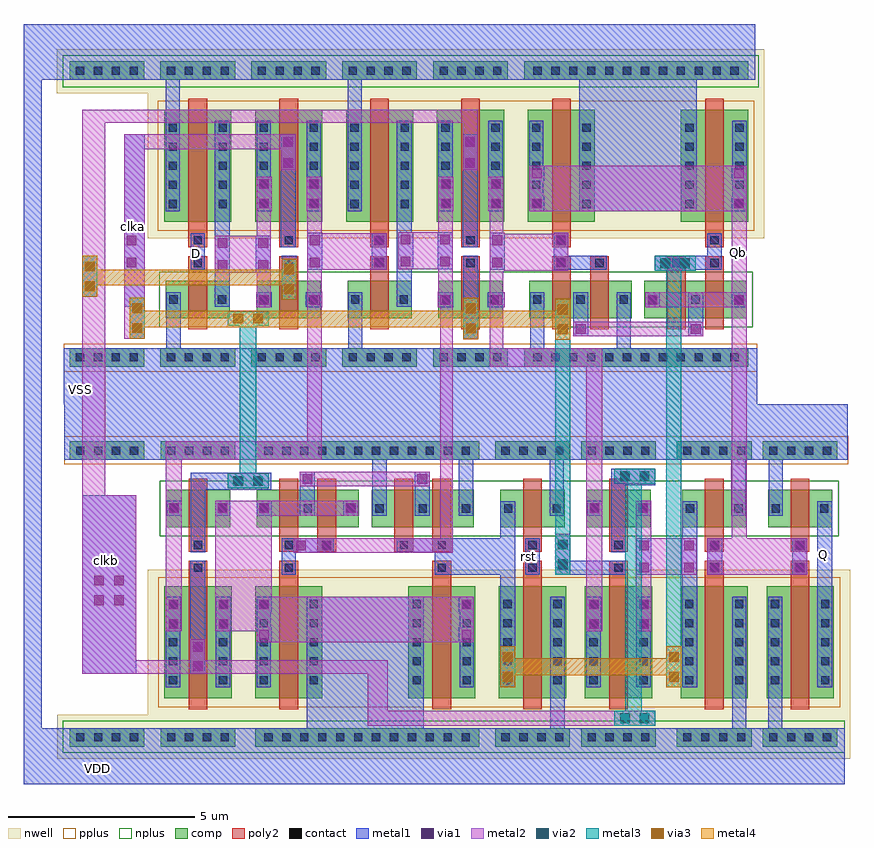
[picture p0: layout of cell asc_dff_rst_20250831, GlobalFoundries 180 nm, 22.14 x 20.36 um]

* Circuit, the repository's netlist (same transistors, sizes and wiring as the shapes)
** sch_path: /foss/designs/libs/core_analog/asc_dff_rst_20250831/asc_dff_rst_20250831.sch
.subckt asc_dff_rst_20250831 clka D Qb vdd vss Q rst clkb
*.PININFO clkb:B vdd:B vss:B D:B Q:B Qb:B rst:B clka:B
x1 net3 vdd net2 vss inv1u05u
x3 net1 vss clkb net3 clka vdd pass1u05u
x5 net3 vss clka net6 clkb vdd pass1u05u
x6 net2 vss clka net5 clkb vdd pass1u05u
x8 Qb vdd net4 vss inv1u05u
x9 net5 vss clkb net4 clka vdd pass1u05u
x11 D vdd net1 vss inv1u05u
x12 Qb vdd Q vss inv1u05u
x13 rst vdd rstb vss inv1u05u
x4 vdd net6 net2 rstb vss asc_NAND
x7 vdd Qb rstb net5 vss asc_NAND
.ends

* expanding   symbol:  libs/core_analog/inv1u05u/inv1u05u.sym # of pins=4
** sym_path: /foss/designs/libs/core_analog/inv1u05u/inv1u05u.sym
** sch_path: /foss/designs/libs/core_analog/inv1u05u/inv1u05u.sch
.subckt inv1u05u in vdd out vss
*.PININFO in:B out:B vss:B vdd:B
M1 out in vdd vdd pfet_03v3 L=0.5u W=3.0u nf=1 m=1
M2 out in vss vss nfet_03v3 L=0.5u W=1.0u nf=1 m=1
.ends


* expanding   symbol:  libs/core_analog/pass1u05u/pass1u05u.sym # of pins=6
** sym_path: /foss/designs/libs/core_analog/pass1u05u/pass1u05u.sym
** sch_path: /foss/designs/libs/core_analog/pass1u05u/pass1u05u.sch
.subckt pass1u05u ind vss clkn ins clkp vdd
*.PININFO ind:B ins:B clkn:B clkp:B vdd:B vss:B
M1 ind clkp ins vdd pfet_03v3 L=0.5u W=3.0u nf=1 m=1
M2 ind clkn ins vss nfet_03v3 L=0.5u W=1.0u nf=1 m=1
.ends


* expanding   symbol:  libs/core_analog/asc_NAND/asc_NAND.sym # of pins=5
** sym_path: /foss/designs/libs/core_analog/asc_NAND/asc_NAND.sym
** sch_path: /foss/designs/libs/core_analog/asc_NAND/asc_NAND.sch
.subckt asc_NAND VDD OUT A B VSS
*.PININFO VDD:B VSS:B B:B A:B OUT:B
M1 OUT A net1 VSS nfet_03v3 L=0.5u W=2u nf=2 m=1
M2 OUT A VDD VDD pfet_03v3 L=0.5u W=3u nf=1 m=1
M3 net1 B VSS VSS nfet_03v3 L=0.5u W=2u nf=2 m=1
M4 OUT B VDD VDD pfet_03v3 L=0.5u W=3u nf=1 m=1
.ends

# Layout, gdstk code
from math import pi, radians
import gdstk
lib = gdstk.Library(unit=1e-6, precision=5e-09)
def R(c, l, rs):  # rectangles x0, y0, x1, y1
    for r in rs: c.add(gdstk.rectangle(r[:2], r[2:], *l))
def A(c, l, x, y, w, h, nx, ny, dx, dy):  # array of equal rectangles
    R(c, l, [(x+i*dx, y+j*dy, x+i*dx+w, y+j*dy+h) for i in range(nx) for j in range(ny)])
nwell = (21, 0)
comp = (22, 0)
poly2 = (30, 0)
pplus = (31, 0)
nplus = (32, 0)
contact = (33, 0)
metal1 = (34, 0)
via1 = (35, 0)
metal2 = (36, 0)
via2 = (38, 0)
via3 = (40, 0)
metal3 = (42, 0)
metal4 = (46, 0)

pfet = lib.new_cell('pfet')
R(pfet, nwell, [(-0.9,-0.44,1.78,3.44)])
R(pfet, comp, [(-0.46,0,0,3), (0,0,0.88,3), (0.88,0,1.34,3)])
R(pfet, poly2, [(0.19,-0.68,0.69,-0.3), (0.19,-0.3,0.69,3.3)])
R(pfet, pplus, [(-0.63,-0.24,1.51,3.24)])
A(pfet, contact, -0.34, 0.37, 0.22, 0.22, 1, 5, 0, 0.51)
A(pfet, contact, 1, 0.37, 0.22, 0.22, 1, 5, 0, 0.51)
R(pfet, contact, [(0.33,-0.6,0.55,-0.38)])
R(pfet, metal1, [(0.25,-0.68,0.63,-0.3), (-0.42,0.29,-0.04,2.71), (0.92,0.29,1.3,2.71)])

via_dev = lib.new_cell('via_dev')
R(via_dev, comp, [(0,0,2,0.5)])
A(via_dev, contact, 0.17, 0.14, 0.22, 0.22, 4, 1, 0.48, 0)
R(via_dev, metal1, [(0,0,2,0.5)])

nfet = lib.new_cell('nfet')
R(nfet, comp, [(-0.42,0,0,1), (0,0,0.88,1), (0.88,0,1.3,1)])
R(nfet, poly2, [(0.19,-0.3,0.69,1.3), (0.19,1.3,0.69,1.66)])
R(nfet, nplus, [(-0.59,-0.24,1.47,1.24)])
R(nfet, contact, [(-0.32,0.39,-0.1,0.61), (0.98,0.39,1.2,0.61), (0.33,1.37,0.55,1.59)])
R(nfet, metal1, [(-0.4,0.31,-0.02,0.69), (0.9,0.31,1.28,0.69), (0.25,1.29,0.63,1.67)])

via_dev_1 = lib.new_cell('via_dev$1')
R(via_dev_1, metal1, [(0,0,0.4,0.4)])
R(via_dev_1, via1, [(0.07,0.07,0.33,0.33)])
R(via_dev_1, metal2, [(0,0,0.4,0.4)])

via_dev_2 = lib.new_cell('via_dev$2')
R(via_dev_2, comp, [(0,0,6,0.5)])
A(via_dev_2, contact, 0.25, 0.14, 0.22, 0.22, 12, 1, 0.48, 0)
R(via_dev_2, metal1, [(0,0,6,0.5)])

nfet_1 = lib.new_cell('nfet$1')
R(nfet_1, comp, [(-0.42,0,0,1), (0,0,1.9,1), (1.9,0,2.32,1)])
R(nfet_1, poly2, [(0.19,-0.3,0.69,1.3), (1.21,-0.3,1.71,1.3), (0.19,1.3,0.69,1.66), (1.21,1.3,1.71,1.66)])
R(nfet_1, nplus, [(-0.59,-0.24,2.49,1.24)])
A(nfet_1, contact, -0.32, 0.39, 0.22, 0.22, 3, 1, 1.16, 0)
R(nfet_1, contact, [(0.33,1.37,0.55,1.59), (1.35,1.37,1.57,1.59)])
A(nfet_1, metal1, -0.4, 0.31, 0.38, 0.38, 3, 1, 1.16, 0)
R(nfet_1, metal1, [(0.25,1.29,0.63,1.67), (1.27,1.29,1.65,1.67)])

pfet_1 = lib.new_cell('pfet$1')
R(pfet_1, nwell, [(-0.9,-0.44,1.78,3.44)])
R(pfet_1, comp, [(-0.46,0,0,3), (0,0,0.88,3), (0.88,0,1.34,3)])
R(pfet_1, poly2, [(0.19,-0.68,0.69,-0.3), (0.19,-0.3,0.69,3.3)])
R(pfet_1, pplus, [(-0.63,-0.24,1.51,3.24)])
A(pfet_1, contact, -0.34, 0.37, 0.22, 0.22, 1, 5, 0, 0.51)
A(pfet_1, contact, 1, 0.37, 0.22, 0.22, 1, 5, 0, 0.51)
R(pfet_1, contact, [(0.33,-0.6,0.55,-0.38)])
R(pfet_1, metal1, [(0.25,-0.68,0.63,-0.3), (-0.42,0.29,-0.04,2.71), (0.92,0.29,1.3,2.71)])

via_dev_3 = lib.new_cell('via_dev$3')
R(via_dev_3, metal1, [(0,0,0.4,0.4)])
R(via_dev_3, via1, [(0.07,0.07,0.33,0.33)])
R(via_dev_3, metal2, [(0,0,0.4,0.4)])

via_dev_4 = lib.new_cell('via_dev$4')
R(via_dev_4, metal1, [(0,0,0.4,0.4)])
R(via_dev_4, via1, [(0.07,0.07,0.33,0.33)])
R(via_dev_4, metal2, [(0,0,0.4,0.4)])

via_dev_5 = lib.new_cell('via_dev$5')

via_dev_6 = lib.new_cell('via_dev$6')
R(via_dev_6, metal1, [(0,0,1.1,0.4)])
R(via_dev_6, via1, [(0.155,0.07,0.415,0.33), (0.685,0.07,0.945,0.33)])
R(via_dev_6, metal2, [(0,0,1.1,0.4)])
R(via_dev_6, via2, [(0.155,0.07,0.415,0.33), (0.685,0.07,0.945,0.33)])
R(via_dev_6, metal3, [(0,0,1.1,0.4)])

via_dev_7 = lib.new_cell('via_dev$7')
R(via_dev_7, metal1, [(0,0,1.1,0.4)])
R(via_dev_7, via1, [(0.155,0.07,0.415,0.33), (0.685,0.07,0.945,0.33)])
R(via_dev_7, metal2, [(0,0,1.1,0.4)])
R(via_dev_7, via2, [(0.155,0.07,0.415,0.33), (0.685,0.07,0.945,0.33)])
R(via_dev_7, via3, [(0.155,0.07,0.415,0.33), (0.685,0.07,0.945,0.33)])
R(via_dev_7, metal3, [(0,0,1.1,0.4)])
R(via_dev_7, metal4, [(0,0,1.1,0.4)])

via_dev_8 = lib.new_cell('via_dev$8')
R(via_dev_8, via3, [(0.155,0.07,0.415,0.33), (0.685,0.07,0.945,0.33)])
R(via_dev_8, metal3, [(0,0,1.1,0.4)])
R(via_dev_8, metal4, [(0,0,1.1,0.4)])

via_dev_9 = lib.new_cell('via_dev$9')
R(via_dev_9, comp, [(0,0,2,0.5)])
A(via_dev_9, contact, 0.17, 0.14, 0.22, 0.22, 4, 1, 0.48, 0)
R(via_dev_9, metal1, [(0,0,2,0.5)])

nfet_2 = lib.new_cell('nfet$2')
R(nfet_2, comp, [(-0.42,0,0,1), (0,0,0.88,1), (0.88,0,1.3,1)])
R(nfet_2, poly2, [(0.19,-0.3,0.69,1.3), (0.19,1.3,0.69,1.66)])
R(nfet_2, nplus, [(-0.59,-0.24,1.47,1.24)])
R(nfet_2, contact, [(-0.32,0.39,-0.1,0.61), (0.98,0.39,1.2,0.61), (0.33,1.37,0.55,1.59)])
R(nfet_2, metal1, [(-0.4,0.31,-0.02,0.69), (0.9,0.31,1.28,0.69), (0.25,1.29,0.63,1.67)])

via_dev_10 = lib.new_cell('via_dev$10')

via_dev_11 = lib.new_cell('via_dev$11')

pfet_2 = lib.new_cell('pfet$2')
R(pfet_2, nwell, [(-0.9,-0.44,1.78,3.44)])
R(pfet_2, comp, [(-0.46,0,0,3), (0,0,0.88,3), (0.88,0,1.34,3)])
R(pfet_2, poly2, [(0.19,-0.68,0.69,-0.3), (0.19,-0.3,0.69,3.3)])
R(pfet_2, pplus, [(-0.63,-0.24,1.51,3.24)])
A(pfet_2, contact, -0.34, 0.37, 0.22, 0.22, 1, 5, 0, 0.51)
A(pfet_2, contact, 1, 0.37, 0.22, 0.22, 1, 5, 0, 0.51)
R(pfet_2, contact, [(0.33,-0.6,0.55,-0.38)])
R(pfet_2, metal1, [(0.25,-0.68,0.63,-0.3), (-0.42,0.29,-0.04,2.71), (0.92,0.29,1.3,2.71)])

via_dev_12 = lib.new_cell('via_dev$12')
R(via_dev_12, metal2, [(0,0,1.1,0.4)])
R(via_dev_12, via2, [(0.155,0.07,0.415,0.33), (0.685,0.07,0.945,0.33)])
R(via_dev_12, via3, [(0.155,0.07,0.415,0.33), (0.685,0.07,0.945,0.33)])
R(via_dev_12, metal3, [(0,0,1.1,0.4)])
R(via_dev_12, metal4, [(0,0,1.1,0.4)])

via_dev_14 = lib.new_cell('via_dev$14')
R(via_dev_14, metal1, [(0,0,1.1,1.1)])
R(via_dev_14, via1, [(0.155,0.155,0.415,0.415), (0.685,0.155,0.945,0.415), (0.155,0.685,0.415,0.945), (0.685,0.685,0.945,0.945)])
R(via_dev_14, metal2, [(0,0,1.1,1.1)])

via_dev_13 = lib.new_cell('via_dev$13')
R(via_dev_13, metal2, [(0,0,1.1,0.4)])
R(via_dev_13, via2, [(0.155,0.07,0.415,0.33), (0.685,0.07,0.945,0.33)])
R(via_dev_13, metal3, [(0,0,1.1,0.4)])

asc_dff_rst_20250831 = lib.new_cell('asc_dff_rst_20250831')
A(asc_dff_rst_20250831, nwell, -3.11, 12.295, 2.68, 1.185, 5, 1, 2.435, 0)
R(asc_dff_rst_20250831, nwell, [(-3.105,-5.53,-0.425,-4.345), (-0.67,-5.53,2.01,-4.345), (1.76,-5.53,8.54,-4.345), (8.29,-5.53,10.97,-4.345), (10.595,-5.53,13.275,-4.345), (13.16,-5.53,15.84,-4.345), (15.46,-5.53,18.14,-4.345), (4.44,-4.345,5.86,-0.465), (11.745,8.415,13.165,12.295), (9.065,12.295,15.845,13.48)])
A(asc_dff_rst_20250831, pplus, -2.92, 4.835, 2.435, 0.75, 5, 1, 2.435, 0)
A(asc_dff_rst_20250831, pplus, 1.735, 8.615, 0.295, 3.48, 4, 1, 2.435, 0)
R(asc_dff_rst_20250831, pplus, [(1.74,-4.145,2.03,-0.665), (4.17,-4.145,6.13,-0.665), (8.27,-4.145,8.43,-0.665), (8.43,-4.145,8.56,-0.665), (10.57,-4.145,10.865,-0.665), (13.005,-4.145,13.3,-0.665), (13.3,-4.145,13.44,-0.665), (15.57,-4.145,15.73,-0.665), (-2.915,2.365,-0.48,3.115), (-0.48,2.365,1.955,3.115), (8.345,2.365,10.78,3.115), (10.78,2.365,10.785,3.115), (10.785,2.365,13.22,3.115), (13.215,2.365,15.65,3.115), (15.65,2.365,18.085,3.115), (11.475,8.615,13.435,12.095)])
A(asc_dff_rst_20250831, nplus, 1.695, 6.035, 0.375, 1.48, 4, 1, 2.435, 0)
A(asc_dff_rst_20250831, nplus, -2.955, 12.455, 2.385, 0.865, 5, 1, 2.435, 0)
A(asc_dff_rst_20250831, nplus, -0.57, 12.455, 0.05, 0.865, 5, 1, 2.435, 0)
R(asc_dff_rst_20250831, nplus, [(-2.95,-5.37,-0.565,-4.505), (-0.565,-5.37,-0.515,-4.505), (-0.515,-5.37,1.87,-4.505), (1.87,-5.37,1.915,-4.505), (1.915,-5.37,8.385,-4.505), (8.385,-5.37,8.435,-4.505), (8.43,-5.37,10.815,-4.505), (10.7,-5.37,10.75,-4.505), (10.75,-5.37,13.135,-4.505), (13.135,-5.37,13.185,-4.505), (13.185,-5.37,13.305,-4.505), (13.3,-5.37,15.685,-4.505), (15.615,-5.37,18,-4.505), (1.7,0.435,2.07,1.915), (8.23,0.435,8.47,1.915), (8.47,0.435,8.605,1.915), (10.53,0.435,10.905,1.915), (12.965,0.435,13.34,1.915), (13.34,0.435,13.47,1.915), (15.53,0.435,15.77,1.915), (9.22,12.455,15.69,13.32)])
A(asc_dff_rst_20250831, metal1, 8.35, 2.475, 2.43, 1.5, 3, 1, 2.435, 0)
A(asc_dff_rst_20250831, metal1, -2.92, 3.975, 2.43, 1.5, 5, 1, 2.435, 0)
A(asc_dff_rst_20250831, metal1, -0.49, 3.975, 0.005, 1.5, 5, 1, 2.435, 0)
A(asc_dff_rst_20250831, metal1, -2.92, 4.975, 0.15, 0.5, 6, 2, 2.435, 7.68)
A(asc_dff_rst_20250831, metal1, -0.175, 4.975, 0.38, 1.99, 3, 1, 4.87, 0)
A(asc_dff_rst_20250831, metal1, 0.475, 7.565, 0.38, 0.99, 3, 1, 4.87, 0)
A(asc_dff_rst_20250831, metal1, -2.92, 12.655, 2.35, 1.5, 5, 1, 2.435, 0)
A(asc_dff_rst_20250831, metal1, -0.57, 12.655, 0.085, 1.5, 5, 1, 2.435, 0)
R(asc_dff_rst_20250831, metal1, [(-3.995,-6.205,-2.915,-4.705), (-2.915,-6.205,-0.565,-4.705), (-0.565,-6.205,-0.48,-4.705), (-0.48,-6.205,1.87,-4.705), (1.87,-6.205,2.01,-4.705), (2.01,-6.205,8.35,-4.705), (8.35,-6.205,8.43,-4.705), (8.43,-6.205,10.78,-4.705), (10.7,-6.205,10.785,-4.705), (10.785,-6.205,13.135,-4.705), (13.135,-6.205,13.22,-4.705), (13.22,-6.205,13.3,-4.705), (13.3,-6.205,15.65,-4.705), (15.65,-6.205,18,-4.705), (-2.915,-5.205,-2.765,-4.705), (-0.48,-5.205,-0.33,-4.705), (2.01,-5.205,2.2,-4.705), (8.2,-5.205,8.35,-4.705), (10.11,-5.205,10.49,-1.195), (10.63,-5.205,10.78,-4.705), (10.785,-5.205,10.935,-4.705), (14.98,-5.205,15.36,-1.195), (15.5,-5.205,15.65,-4.705), (15.65,-5.205,15.8,-4.705), (15.94,-5.205,16.32,-1.195), (-3.995,-4.705,-3.515,12.655), (3.58,-4.705,6.72,-1.195), (8.77,-3.615,9.17,1.365), (13.64,-3.615,14.04,1.365), (17.26,-3.615,17.66,1.365), (-2.43,-3.25,-0.985,1.525), (0.465,-3.25,0.865,-0.225), (0.185,-1.715,0.21,-1.595), (1.53,-1.715,1.55,-1.595), (11.45,-1.715,11.475,-1.595), (12.795,-1.715,12.815,-1.595), (2.91,-0.605,3.29,0.385), (7.01,-0.605,7.39,0.385), (7.01,-0.605,9.17,0.385), (9.44,-0.605,9.82,0.385), (10.24,-0.605,12.125,-0.225), (14.31,-0.605,14.69,0.385), (16.61,-0.605,16.99,0.385), (12.415,-0.205,12.815,-0.015), (13.625,-0.205,13.64,-0.015), (14.69,-0.205,14.71,-0.015), (16.59,-0.205,16.61,-0.015), (2.91,0.005,4.31,0.385), (5.99,0.005,7.39,0.385), (11.745,0.005,12.125,2.24), (0.48,0.385,0.86,2.135), (3.4,0.985,3.8,2.165), (5.34,0.985,5.72,2.975), (6.48,0.985,6.88,2.165), (7.66,0.985,8.04,2.975), (10.09,0.985,10.47,2.975), (14.96,0.985,15.34,2.975), (15.96,0.985,16.34,2.975), (0.48,1.675,2.63,2.135), (11.745,1.805,12.92,2.24), (-2.915,2.475,-0.485,3.975), (-2.915,2.475,-2.765,2.975), (-0.485,2.475,-0.48,3.975), (-0.48,2.475,1.95,3.975), (-0.48,2.475,-0.33,2.975), (1.95,2.475,1.965,3.975), (1.955,2.475,8.35,3.975), (1.955,2.475,2.2,2.975), (8.2,2.475,8.35,2.975), (10.63,2.475,10.78,2.975), (10.78,2.475,10.785,3.975), (10.785,2.475,10.935,2.975), (13.215,2.475,13.22,3.975), (15.5,2.475,15.65,2.975), (15.65,2.475,18.08,3.975), (15.65,2.475,15.8,2.975), (9.255,3.975,15.65,5.475), (11.885,4.975,12.265,6.965), (15.405,4.975,15.65,5.475), (10.725,5.785,11.125,6.965), (13.805,5.785,14.205,6.965), (2.625,6.565,2.64,6.585), (7.49,6.565,7.51,6.585), (8.43,6.565,8.485,6.585), (-1.31,6.585,-0.76,11.2), (1.125,6.585,1.525,11.565), (5.995,6.585,6.395,11.565), (7.78,6.815,8.18,7.565), (10.215,7.565,11.615,7.945), (13.295,7.565,14.695,7.945), (14.315,7.565,14.695,8.555), (3.29,7.87,3.31,7.945), (2.22,7.89,2.62,8.085), (3.6,7.965,4,8.16), (5.325,7.965,5.345,8.155), (8.485,7.965,8.885,8.16), (10.195,7.965,10.215,8.16), (6.395,7.99,6.43,8.18), (7.09,7.99,7.49,8.18), (2.89,8.175,3.29,11.005), (7.76,8.175,8.16,11.005), (-0.195,9.145,0.185,13.155), (4.675,9.145,5.055,13.155), (10.885,9.145,14.025,12.655), (2.615,9.545,2.64,9.665), (3.96,9.545,3.98,9.665), (7.485,9.545,7.51,9.665), (8.83,9.545,8.85,9.665), (-3.995,12.655,-2.92,14.155), (9.255,12.655,15.595,14.155), (15.405,12.655,15.595,13.155)])
R(asc_dff_rst_20250831, metal2, [(5.22,-4.65,12.92,-4.245), (5.22,-4.65,5.755,-2.885), (-2.43,-3.25,-1.81,11.855), (-2.43,-3.25,0.865,-2.885), (0.465,-3.25,0.865,-2.33), (0.465,-3.25,5.755,-2.885), (-1.81,-2.885,-0.985,1.525), (2.24,-2.405,2.64,1.385), (2.24,-2.405,8.06,-1.195), (7.66,-2.405,8.06,-1.195), (-0.19,-2.115,0.23,1.385), (1.13,-2.115,1.55,1.385), (1.13,-2.115,2.64,1.385), (11.075,-2.115,11.495,1.385), (12.395,-2.115,12.815,1.385), (1.53,-1.715,1.55,-1.595), (12.795,-1.715,12.815,-1.595), (12.395,-0.605,14.025,0.385), (14.31,-0.605,16.99,0.385), (14.965,-0.605,15.365,7.06), (3.23,-0.015,7.49,0.385), (7.16,-0.015,7.49,6.755), (2.24,0.985,4.96,1.385), (-0.19,1.17,0.23,2.975), (11.075,1.385,11.495,5.475), (3.4,1.765,6.88,2.165), (-0.185,2.475,3.98,2.975), (3.6,2.475,3.98,6.675), (8.48,4.975,11.495,5.475), (8.48,4.975,8.85,6.8), (-1.31,5.725,-0.76,11.2), (10.725,5.785,14.205,6.185), (2.24,6.565,2.625,10.065), (3.6,6.565,3.98,10.065), (7.11,6.565,7.49,10.065), (8.485,6.565,8.85,10.065), (12.645,6.565,15.365,6.965), (14.965,6.565,15.365,10.355), (1.125,7.495,2.62,8.485), (8.485,7.545,10.595,8.54), (3.98,7.565,5.725,8.555), (6.03,7.59,7.49,8.58), (9.545,9.145,9.945,10.355), (9.545,9.145,15.365,10.355), (2.625,9.545,2.64,9.665), (3.58,9.545,3.6,9.665), (3.96,9.545,3.98,9.665), (7.49,9.545,7.51,9.665), (8.45,9.545,8.49,9.665), (8.83,9.545,8.85,9.665), (2.89,10.235,3.29,11.2), (7.76,10.235,8.16,11.855), (-1.31,10.8,3.29,11.2), (-2.425,11.505,8.155,11.855)])
R(asc_dff_rst_20250831, metal3, [(12.115,-4.645,12.56,2.24), (13.22,-3.615,13.62,7.945), (10.24,0.495,10.64,6.47), (1.785,1.715,2.235,6.465)])
R(asc_dff_rst_20250831, metal4, [(8.77,-3.29,13.62,-2.84), (-1.16,6.035,10.64,6.47), (-2.43,7.16,3.31,7.575)])
asc_dff_rst_20250831.add(gdstk.FlexPath([(9.255,5.21),(15.65,5.21)], 0.75, ends="flush", simple_path=True, layer=31, datatype=0))  # pplus
asc_dff_rst_20250831.add(gdstk.FlexPath([(8.35,2.74),(1.955,2.74)], 0.75, ends="flush", simple_path=True, layer=31, datatype=0))  # pplus
asc_dff_rst_20250831.add(gdstk.Reference(pfet, (7.53,8.855)))
asc_dff_rst_20250831.add(gdstk.Reference(via_dev, (6.97,12.655)))
asc_dff_rst_20250831.add(gdstk.Reference(via_dev, (6.97,4.975)))
asc_dff_rst_20250831.add(gdstk.Reference(nfet, (7.53,6.275)))
asc_dff_rst_20250831.add(gdstk.Reference(via_dev_1, (7.09,6.565)))
asc_dff_rst_20250831.add(gdstk.Reference(via_dev_1, (7.11,9.145)))
asc_dff_rst_20250831.add(gdstk.Reference(via_dev_1, (7.11,9.665)))
asc_dff_rst_20250831.add(gdstk.Reference(via_dev_2, (8.2,-4.705), rotation=pi))
asc_dff_rst_20250831.add(gdstk.Reference(via_dev_2, (8.2,2.975), rotation=pi))
asc_dff_rst_20250831.add(gdstk.Reference(nfet_1, (7.64,1.675), rotation=pi))
asc_dff_rst_20250831.add(gdstk.Reference(pfet_1, (7.64,-0.905), rotation=pi))
asc_dff_rst_20250831.add(gdstk.Reference(via_dev_3, (7.09,8.18)))
asc_dff_rst_20250831.add(gdstk.Reference(via_dev_3, (7.09,7.59)))
asc_dff_rst_20250831.add(gdstk.Reference(via_dev_4, (14.965,9.145)))
asc_dff_rst_20250831.add(gdstk.Reference(via_dev_2, (9.405,12.655)))
asc_dff_rst_20250831.add(gdstk.Reference(via_dev_2, (9.405,4.975)))
asc_dff_rst_20250831.add(gdstk.Reference(pfet_1, (14.065,8.855)))
asc_dff_rst_20250831.add(gdstk.Reference(via_dev_4, (14.965,6.565)))
asc_dff_rst_20250831.add(gdstk.Reference(via_dev_4, (12.645,6.565)))
asc_dff_rst_20250831.add(gdstk.Reference(via_dev_4, (10.725,5.785)))
asc_dff_rst_20250831.add(gdstk.Reference(nfet_1, (9.965,6.275)))
asc_dff_rst_20250831.add(gdstk.Reference(nfet_1, (13.045,6.275)))
asc_dff_rst_20250831.add(gdstk.Reference(pfet_1, (9.965,8.855)))
asc_dff_rst_20250831.add(gdstk.Reference(via_dev_1, (8.45,9.145)))
asc_dff_rst_20250831.add(gdstk.Reference(via_dev_1, (8.45,9.665)))
asc_dff_rst_20250831.add(gdstk.Reference(via_dev_4, (9.545,9.955)))
asc_dff_rst_20250831.add(gdstk.Reference(via_dev_5, (8.605,4.385), rotation=pi/2))
asc_dff_rst_20250831.add(gdstk.Reference(via_dev_1, (8.485,6.565)))
asc_dff_rst_20250831.add(gdstk.Reference(via_dev_4, (9.545,9.145)))
asc_dff_rst_20250831.add(gdstk.Reference(via_dev_4, (13.805,5.785)))
asc_dff_rst_20250831.add(gdstk.Reference(via_dev_3, (10.195,8.16)))
asc_dff_rst_20250831.add(gdstk.Reference(via_dev_3, (10.195,7.565)))
asc_dff_rst_20250831.add(gdstk.Reference(via_dev_3, (8.485,7.565)))
asc_dff_rst_20250831.add(gdstk.Reference(via_dev_3, (8.485,8.16)))
asc_dff_rst_20250831.add(gdstk.Reference(via_dev_6, (12.9,7.545)))
asc_dff_rst_20250831.add(gdstk.Reference(via_dev_7, (8.18,5.715), rotation=pi/2))
asc_dff_rst_20250831.add(gdstk.Reference(via_dev_3, (7.76,10.235)))
asc_dff_rst_20250831.add(gdstk.Reference(via_dev_3, (7.76,10.8)))
asc_dff_rst_20250831.add(gdstk.Reference(via_dev_4, (14.965,9.955)))
asc_dff_rst_20250831.add(gdstk.Reference(via_dev_8, (10.64,5.695), rotation=pi/2))
asc_dff_rst_20250831.add(gdstk.Reference(via_dev_1, (2.24,9.145)))
asc_dff_rst_20250831.add(gdstk.Reference(via_dev_1, (2.24,9.665)))
asc_dff_rst_20250831.add(gdstk.Reference(via_dev_9, (4.535,12.655)))
asc_dff_rst_20250831.add(gdstk.Reference(via_dev_9, (-2.77,12.655)))
asc_dff_rst_20250831.add(gdstk.Reference(via_dev_3, (2.22,8.085)))
asc_dff_rst_20250831.add(gdstk.Reference(via_dev_9, (-0.335,12.655)))
asc_dff_rst_20250831.add(gdstk.Reference(via_dev_9, (-0.335,4.975)))
asc_dff_rst_20250831.add(gdstk.Reference(nfet_2, (0.225,6.275)))
asc_dff_rst_20250831.add(gdstk.Reference(via_dev_10, (-3.57,4.385), rotation=pi/2))
asc_dff_rst_20250831.add(gdstk.Reference(via_dev_11, (6.17,4.385), rotation=pi/2))
asc_dff_rst_20250831.add(gdstk.Reference(via_dev_11, (1.3,4.385), rotation=pi/2))
asc_dff_rst_20250831.add(gdstk.Reference(via_dev_10, (3.735,4.385), rotation=pi/2))
asc_dff_rst_20250831.add(gdstk.Reference(via_dev_9, (-2.77,4.975)))
asc_dff_rst_20250831.add(gdstk.Reference(via_dev_10, (-1.135,4.385), rotation=pi/2))
asc_dff_rst_20250831.add(gdstk.Reference(via_dev_3, (2.22,7.495)))
asc_dff_rst_20250831.add(gdstk.Reference(via_dev_3, (1.125,8.085)))
asc_dff_rst_20250831.add(gdstk.Reference(via_dev_3, (1.125,7.495)))
asc_dff_rst_20250831.add(gdstk.Reference(via_dev_3, (3.6,8.16)))
asc_dff_rst_20250831.add(gdstk.Reference(via_dev_3, (3.6,7.565)))
asc_dff_rst_20250831.add(gdstk.Reference(via_dev_3, (5.325,8.155)))
asc_dff_rst_20250831.add(gdstk.Reference(via_dev_3, (5.325,7.565)))
asc_dff_rst_20250831.add(gdstk.Reference(pfet_2, (0.225,8.855)))
asc_dff_rst_20250831.add(gdstk.Reference(via_dev_9, (4.535,4.975)))
asc_dff_rst_20250831.add(gdstk.Reference(via_dev_3, (6.03,8.18)))
asc_dff_rst_20250831.add(gdstk.Reference(via_dev_3, (6.03,7.59)))
asc_dff_rst_20250831.add(gdstk.Reference(nfet_2, (5.095,6.275)))
asc_dff_rst_20250831.add(gdstk.Reference(pfet_2, (5.095,8.855)))
asc_dff_rst_20250831.add(gdstk.Reference(via_dev, (2.1,12.655)))
asc_dff_rst_20250831.add(gdstk.Reference(via_dev, (2.1,4.975)))
asc_dff_rst_20250831.add(gdstk.Reference(via_dev_3, (-1.31,8.155)))
asc_dff_rst_20250831.add(gdstk.Reference(via_dev_3, (-1.31,7.565)))
asc_dff_rst_20250831.add(gdstk.Reference(nfet, (2.66,6.275)))
asc_dff_rst_20250831.add(gdstk.Reference(pfet, (2.66,8.855)))
asc_dff_rst_20250831.add(gdstk.Reference(via_dev_1, (2.225,6.565)))
asc_dff_rst_20250831.add(gdstk.Reference(via_dev_3, (2.89,10.235)))
asc_dff_rst_20250831.add(gdstk.Reference(via_dev_3, (2.89,10.8)))
asc_dff_rst_20250831.add(gdstk.Reference(via_dev_1, (3.6,6.565)))
asc_dff_rst_20250831.add(gdstk.Reference(via_dev_1, (3.58,9.145)))
asc_dff_rst_20250831.add(gdstk.Reference(via_dev_1, (3.58,9.665)))
asc_dff_rst_20250831.add(gdstk.Reference(via_dev_7, (3.31,6.77), rotation=pi/2))
asc_dff_rst_20250831.add(gdstk.Reference(via_dev_12, (-0.76,5.725), rotation=pi/2))
asc_dff_rst_20250831.add(gdstk.Reference(via_dev_8, (1.465,6.065)))
asc_dff_rst_20250831.add(gdstk.Reference(via_dev_12, (-2.03,6.845), rotation=pi/2))
asc_dff_rst_20250831.add(gdstk.Reference(via_dev_14, (-2.265,-0.465), x_reflection=True))
asc_dff_rst_20250831.add(gdstk.Reference(nfet, (0.23,1.675), x_reflection=True))
asc_dff_rst_20250831.add(gdstk.Reference(via_dev_4, (2.64,-2.005), rotation=pi))
asc_dff_rst_20250831.add(gdstk.Reference(via_dev_1, (-0.17,1.385), x_reflection=True))
asc_dff_rst_20250831.add(gdstk.Reference(via_dev_1, (1.13,1.385), x_reflection=True))
asc_dff_rst_20250831.add(gdstk.Reference(via_dev_1, (1.15,-1.195), x_reflection=True))
asc_dff_rst_20250831.add(gdstk.Reference(via_dev_1, (1.15,-1.715), x_reflection=True))
asc_dff_rst_20250831.add(gdstk.Reference(via_dev_1, (-0.19,-1.195), x_reflection=True))
asc_dff_rst_20250831.add(gdstk.Reference(via_dev_1, (-0.19,-1.715), x_reflection=True))
asc_dff_rst_20250831.add(gdstk.Reference(via_dev_3, (3.63,0.385), rotation=pi))
asc_dff_rst_20250831.add(gdstk.Reference(via_dev_3, (4.31,0.385), rotation=pi))
asc_dff_rst_20250831.add(gdstk.Reference(via_dev_4, (2.64,-1.195), rotation=pi))
asc_dff_rst_20250831.add(gdstk.Reference(via_dev_9, (-2.765,2.975), x_reflection=True))
asc_dff_rst_20250831.add(gdstk.Reference(via_dev_11, (-1.13,3.565), rotation=3*pi/2, x_reflection=True))
asc_dff_rst_20250831.add(gdstk.Reference(via_dev_6, (1.465,1.715)))
asc_dff_rst_20250831.add(gdstk.Reference(pfet, (0.23,-0.905), x_reflection=True))
asc_dff_rst_20250831.add(gdstk.Reference(pfet_1, (3.54,-0.905), rotation=pi))
asc_dff_rst_20250831.add(gdstk.Reference(via_dev_4, (2.64,1.385), rotation=pi))
asc_dff_rst_20250831.add(gdstk.Reference(via_dev_4, (4.96,1.385), rotation=pi))
asc_dff_rst_20250831.add(gdstk.Reference(via_dev_4, (6.88,2.165), rotation=pi))
asc_dff_rst_20250831.add(gdstk.Reference(via_dev_10, (-3.565,3.565), rotation=3*pi/2, x_reflection=True))
asc_dff_rst_20250831.add(gdstk.Reference(via_dev_9, (-2.765,-4.705), x_reflection=True))
asc_dff_rst_20250831.add(gdstk.Reference(nfet_1, (4.56,1.675), rotation=pi))
asc_dff_rst_20250831.add(gdstk.Reference(via_dev_4, (3.8,2.165), rotation=pi))
asc_dff_rst_20250831.add(gdstk.Reference(via_dev_3, (0.465,-2.85), x_reflection=True))
asc_dff_rst_20250831.add(gdstk.Reference(via_dev_3, (0.465,-2.33), x_reflection=True))
asc_dff_rst_20250831.add(gdstk.Reference(via_dev, (-0.33,-4.705), x_reflection=True))
asc_dff_rst_20250831.add(gdstk.Reference(via_dev, (-0.33,2.975), x_reflection=True))
asc_dff_rst_20250831.add(gdstk.Reference(via_dev_9, (15.5,2.975), rotation=pi))
asc_dff_rst_20250831.add(gdstk.Reference(nfet_2, (14.94,1.675), rotation=pi))
asc_dff_rst_20250831.add(gdstk.Reference(via_dev_10, (16.3,3.565), rotation=3*pi/2))
asc_dff_rst_20250831.add(gdstk.Reference(pfet_2, (14.94,-0.905), rotation=pi))
asc_dff_rst_20250831.add(gdstk.Reference(via_dev, (10.935,-4.705), x_reflection=True))
asc_dff_rst_20250831.add(gdstk.Reference(via_dev, (10.935,2.975), x_reflection=True))
asc_dff_rst_20250831.add(gdstk.Reference(nfet, (11.495,1.675), x_reflection=True))
asc_dff_rst_20250831.add(gdstk.Reference(via_dev_10, (11.43,3.565), rotation=3*pi/2))
asc_dff_rst_20250831.add(gdstk.Reference(via_dev_1, (11.095,1.385), x_reflection=True))
asc_dff_rst_20250831.add(gdstk.Reference(via_dev_1, (12.395,1.385), x_reflection=True))
asc_dff_rst_20250831.add(gdstk.Reference(via_dev_3, (13.625,-0.205), x_reflection=True))
asc_dff_rst_20250831.add(gdstk.Reference(via_dev_3, (13.625,0.385), x_reflection=True))
asc_dff_rst_20250831.add(gdstk.Reference(via_dev_3, (12.415,-0.205), x_reflection=True))
asc_dff_rst_20250831.add(gdstk.Reference(via_dev_3, (12.415,0.385), x_reflection=True))
asc_dff_rst_20250831.add(gdstk.Reference(via_dev_1, (12.415,-1.195), x_reflection=True))
asc_dff_rst_20250831.add(gdstk.Reference(via_dev_1, (12.415,-1.715), x_reflection=True))
asc_dff_rst_20250831.add(gdstk.Reference(via_dev_9, (15.8,2.975), x_reflection=True))
asc_dff_rst_20250831.add(gdstk.Reference(nfet_2, (16.36,1.675), x_reflection=True))
asc_dff_rst_20250831.add(gdstk.Reference(via_dev_1, (11.075,-1.195), x_reflection=True))
asc_dff_rst_20250831.add(gdstk.Reference(pfet_2, (16.36,-0.905), x_reflection=True))
asc_dff_rst_20250831.add(gdstk.Reference(via_dev_1, (11.075,-1.715), x_reflection=True))
asc_dff_rst_20250831.add(gdstk.Reference(via_dev_4, (8.06,-1.195), rotation=pi))
asc_dff_rst_20250831.add(gdstk.Reference(via_dev_7, (9.17,-3.615), rotation=pi/2))
asc_dff_rst_20250831.add(gdstk.Reference(via_dev_8, (13.62,-3.615), rotation=pi/2))
asc_dff_rst_20250831.add(gdstk.Reference(via_dev_10, (15,3.565), rotation=3*pi/2, x_reflection=True))
asc_dff_rst_20250831.add(gdstk.Reference(via_dev_9, (15.5,-4.705), rotation=pi))
asc_dff_rst_20250831.add(gdstk.Reference(pfet, (11.495,-0.905), x_reflection=True))
asc_dff_rst_20250831.add(gdstk.Reference(via_dev_4, (8.06,-2.005), rotation=pi))
asc_dff_rst_20250831.add(gdstk.Reference(via_dev_5, (9,3.565), rotation=3*pi/2))
asc_dff_rst_20250831.add(gdstk.Reference(via_dev_9, (10.63,-4.705), rotation=pi))
asc_dff_rst_20250831.add(gdstk.Reference(via_dev_9, (15.8,-4.705), x_reflection=True))
asc_dff_rst_20250831.add(gdstk.Reference(via_dev_9, (10.63,2.975), rotation=pi))
asc_dff_rst_20250831.add(gdstk.Reference(nfet_2, (10.07,1.675), rotation=pi))
asc_dff_rst_20250831.add(gdstk.Reference(via_dev_3, (14.31,-0.205), x_reflection=True))
asc_dff_rst_20250831.add(gdstk.Reference(via_dev_3, (14.31,0.385), x_reflection=True))
asc_dff_rst_20250831.add(gdstk.Reference(via_dev_13, (12.92,-4.245), rotation=pi))
asc_dff_rst_20250831.add(gdstk.Reference(via_dev_6, (10.64,-0.605), rotation=pi/2))
asc_dff_rst_20250831.add(gdstk.Reference(via_dev_3, (16.59,0.385), x_reflection=True))
asc_dff_rst_20250831.add(gdstk.Reference(via_dev_3, (16.59,-0.205), x_reflection=True))
asc_dff_rst_20250831.add(gdstk.Reference(via_dev_11, (10.135,3.565), rotation=3*pi/2, x_reflection=True))
asc_dff_rst_20250831.add(gdstk.Reference(via_dev_6, (12.92,2.24), rotation=pi))
asc_dff_rst_20250831.add(gdstk.Reference(pfet_2, (10.07,-0.905), rotation=pi))
asc_dff_rst_20250831.add(gdstk.Label('VDD', (-2.015,-5.78), layer=34, texttype=10))
asc_dff_rst_20250831.add(gdstk.Label('D', (0.63,8.01), layer=34, texttype=10))
asc_dff_rst_20250831.add(gdstk.Label('rst', (9.535,-0.115), layer=34, texttype=10))
asc_dff_rst_20250831.add(gdstk.Label('Q', (17.435,-0.055), layer=34, texttype=10))
asc_dff_rst_20250831.add(gdstk.Label('VSS', (-2.465,4.355), layer=34, texttype=10))
asc_dff_rst_20250831.add(gdstk.Label('clkb', (-1.775,-0.23), layer=34, texttype=10))
asc_dff_rst_20250831.add(gdstk.Label('clka', (-1.095,8.72), layer=34, texttype=10))
asc_dff_rst_20250831.add(gdstk.Label('Qb', (15.16,8.035), layer=36, texttype=10))

lib.write_gds('asc_dff_rst_20250831.gds')
